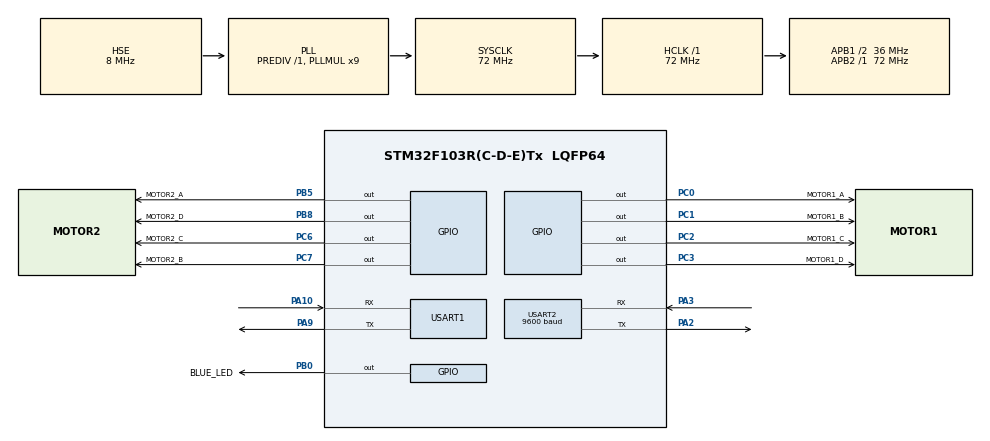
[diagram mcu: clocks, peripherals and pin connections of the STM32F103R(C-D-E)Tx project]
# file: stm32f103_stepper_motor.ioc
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Mcu.Family=STM32F1
Mcu.Name=STM32F103R(C-D-E)Tx
Mcu.Package=LQFP64
NVIC.PriorityGroup=NVIC_PRIORITYGROUP_4
NVIC.USART1_IRQn=true\:0\:0\:false\:false\:true\:true\:true\:true
NVIC.USART2_IRQn=true\:0\:0\:false\:false\:true\:true\:true\:true
PA10.Mode=Asynchronous
PA10.Signal=USART1_RX
PA13.Mode=Serial_Wire
PA13.Signal=SYS_JTMS-SWDIO
PA14.Mode=Serial_Wire
PA14.Signal=SYS_JTCK-SWCLK
PA2.Mode=Asynchronous
PA2.Signal=USART2_TX
PA3.Mode=Asynchronous
PA3.Signal=USART2_RX
PA9.Mode=Asynchronous
PA9.Signal=USART1_TX
PB0.GPIO_Label=BLUE_LED
PB0.GPIO_Speed=GPIO_SPEED_FREQ_HIGH
PB0.PinState=GPIO_PIN_SET
PB0.Signal=GPIO_Output
PB5.GPIO_Label=MOTOR2_A
PB5.GPIO_ModeDefaultOutputPP=GPIO_MODE_OUTPUT_PP
PB5.GPIO_PuPd=GPIO_NOPULL
PB5.GPIO_Speed=GPIO_SPEED_FREQ_HIGH
PB5.PinState=GPIO_PIN_RESET
PB5.Signal=GPIO_Output
PB8.GPIO_Label=MOTOR2_D
PB8.GPIO_ModeDefaultOutputPP=GPIO_MODE_OUTPUT_PP
PB8.GPIO_PuPd=GPIO_NOPULL
PB8.GPIO_Speed=GPIO_SPEED_FREQ_HIGH
PB8.PinState=GPIO_PIN_RESET
PB8.Signal=GPIO_Output
PC0.GPIO_Label=MOTOR1_A
PC0.GPIO_Speed=GPIO_SPEED_FREQ_HIGH
PC0.Signal=GPIO_Output
PC1.GPIO_Label=MOTOR1_B
PC1.GPIO_Speed=GPIO_SPEED_FREQ_HIGH
PC1.Signal=GPIO_Output
PC14-OSC32_IN.Mode=LSE-External-Oscillator
PC14-OSC32_IN.Signal=RCC_OSC32_IN
PC15-OSC32_OUT.Mode=LSE-External-Oscillator
PC15-OSC32_OUT.Signal=RCC_OSC32_OUT
PC2.GPIO_Label=MOTOR1_C
PC2.GPIO_Speed=GPIO_SPEED_FREQ_HIGH
PC2.Signal=GPIO_Output
PC3.GPIO_Label=MOTOR1_D
PC3.GPIO_Speed=GPIO_SPEED_FREQ_HIGH
PC3.Signal=GPIO_Output
PC6.GPIO_Label=MOTOR2_C
PC6.GPIO_ModeDefaultOutputPP=GPIO_MODE_OUTPUT_PP
PC6.GPIO_PuPd=GPIO_NOPULL
PC6.GPIO_Speed=GPIO_SPEED_FREQ_HIGH
PC6.PinState=GPIO_PIN_RESET
PC6.Signal=GPIO_Output
PC7.GPIO_Label=MOTOR2_B
PC7.GPIO_ModeDefaultOutputPP=GPIO_MODE_OUTPUT_PP
PC7.GPIO_PuPd=GPIO_NOPULL
PC7.GPIO_Speed=GPIO_SPEED_FREQ_HIGH
PC7.PinState=GPIO_PIN_RESET
PC7.Signal=GPIO_Output
PD0-OSC_IN.Mode=HSE-External-Oscillator
PD0-OSC_IN.Signal=RCC_OSC_IN
PD1-OSC_OUT.Mode=HSE-External-Oscillator
PD1-OSC_OUT.Signal=RCC_OSC_OUT
ProjectManager.HeapSize=0x200
ProjectManager.StackSize=0x400
ProjectManager.TargetToolchain=MDK-ARM V5.32
RCC.AHBFreq_Value=72000000
RCC.APB1CLKDivider=RCC_HCLK_DIV2
RCC.APB1Freq_Value=36000000
RCC.APB1TimFreq_Value=72000000
RCC.APB2Freq_Value=72000000
RCC.APB2TimFreq_Value=72000000
RCC.HCLKFreq_Value=72000000
RCC.PLLMUL=RCC_PLL_MUL9
RCC.PLLSourceVirtual=RCC_PLLSOURCE_HSE
RCC.SYSCLKFreq_VALUE=72000000
RCC.SYSCLKSource=RCC_SYSCLKSOURCE_PLLCLK
RCC.USBFreq_Value=72000000
USART1.VirtualMode=VM_ASYNC
USART2.BaudRate=9600
USART2.VirtualMode=VM_ASYNC
board=custom

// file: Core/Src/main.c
/* USER CODE BEGIN Header */
/**
  ******************************************************************************
  * @file           : main.c
  * @brief          : Main program body
  ******************************************************************************
  * @attention
  *
  * Copyright (c) 2023 STMicroelectronics.
  * All rights reserved.
  *
  * This software is licensed under terms that can be found in the LICENSE file
  * in the root directory of this software component.
  * If no LICENSE file comes with this software, it is provided AS-IS.
  *
  ******************************************************************************
  */
/* USER CODE END Header */
#include "main.h"
#include "usart.h"
#include "gpio.h"

/* USER CODE BEGIN Includes */
#include "bsp_uart.h"
#include "bsp_soft_timer.h"
#include "elog.h"
#include "bsp_stepper_motor.h"

/* USER CODE END Includes */

/* USER CODE BEGIN PD */

#define LOG_TAG    "main"

/* USER CODE END PD */

void SystemClock_Config(void);
/* USER CODE BEGIN PFP */
static void test_elog(void);

/* USER CODE END PFP */

/* USER CODE BEGIN 0 */
void test_elog(void)
{
    /* test log output for all level */
    log_a("log_a: Hello EasyLogger!");
    log_e("log_e: Hello EasyLogger!");
    log_w("log_w: Hello EasyLogger!");
    log_i("log_i: Hello EasyLogger!");
    log_d("log_d: Hello EasyLogger!");
    log_v("log_v: Hello EasyLogger!");
    elog_raw("elog_raw: Hello EasyLogger!\r\n");
}

/*
* 函数名称：Easylogger_Init
* 输入参数：None
* �? �? 值：None
* �?    者：Barry
* 功能描述：初始化Easylogger打印，配置log输出的颜色�?�字体�?�输出内容等
* 修改记录：None
*/
void Easylogger_Init(void)
{
  /* 初始化Easylogger */
  elog_init();

  /* 使能颜色输出 */
  elog_set_text_color_enabled(true);

  /* 输出�?有内�? */
  elog_set_fmt(ELOG_LVL_ASSERT, ELOG_FMT_ALL);

  /* 输出日志级别信息和日志TAG */
  elog_set_fmt(ELOG_LVL_ERROR, ELOG_FMT_LVL | ELOG_FMT_TAG);
  elog_set_fmt(ELOG_LVL_WARN, ELOG_FMT_LVL | ELOG_FMT_TAG);
  elog_set_fmt(ELOG_LVL_INFO, ELOG_FMT_LVL | ELOG_FMT_TAG);

  /* 除了时间、进程信息�?�线程信息之外，其余全部输出 */
  elog_set_fmt(ELOG_LVL_DEBUG, ELOG_FMT_ALL & ~(ELOG_FMT_TIME | ELOG_FMT_P_INFO | ELOG_FMT_T_INFO));

  /* 输出�?有内�? */
  elog_set_fmt(ELOG_LVL_VERBOSE, ELOG_FMT_ALL);

  /* 启动Easylogger */
  elog_start();
}

/* USER CODE END 0 */

int main(void)
{

  /* MCU Configuration--------------------------------------------------------*/

  /* Reset of all peripherals, Initializes the Flash interface and the Systick. */
  HAL_Init();

  /* Configure the system clock */
  SystemClock_Config();

  /* Initialize all configured peripherals */
  MX_GPIO_Init();
  MX_USART1_UART_Init();
  MX_USART2_UART_Init();
  /* USER CODE BEGIN 2 */
  BSP_SoftTimer_Init();
  BSP_UART_Init();
  Easylogger_Init();

  BSP_SteeperMotor_Init();

  BSP_SteeperMotor_Start(&StepperMotor1, 2
    , kMotorDirCw, kMotorModeStep, 4096);

  BSP_SteeperMotor_Start(&StepperMotor2, 2
    , kMotorDirAcw, kMotorModeLoop, 4096);

  /* USER CODE END 2 */

  /* Infinite loop */
  /* USER CODE BEGIN WHILE */
  while (1)
  {
    // for (uint8_t i = kBeatDa; i >= kBeatA; i--)
    // for (int8_t i = kBeatDa; i >= kBeatA; i--)
    // for (int8_t i = 0; i <= 7; i++)
    // {

    //   BSP_MotorBeat(&StepperMotor1, (uint8_t)i);
    //   HAL_Delay(10);
      // BSP_MotorBeat(&StepperMotor1, kBeatAb);
      // HAL_Delay(10);
      // BSP_MotorBeat(&StepperMotor1, kBeatB);
      // HAL_Delay(10);
      // BSP_MotorBeat(&StepperMotor1, kBeatBc);
      // HAL_Delay(10);
      // BSP_MotorBeat(&StepperMotor1, kBeatC);
      // HAL_Delay(10);
      // BSP_MotorBeat(&StepperMotor1, kBeatCd);
      // HAL_Delay(10);
      // BSP_MotorBeat(&StepperMotor1, kBeatD);
      // HAL_Delay(10);
      // BSP_MotorBeat(&StepperMotor1, kBeatDa);
      // HAL_Delay(10);

    // }
    // StepperMotorAction(&StepperMotor1);
    // BSP_SteeperMotor_Loop();
    // HAL_Delay(1);
    BSP_SoftTimer_Loop();
    // StepperMotorAction(&StepperMotor1);
    // HAL_Delay(1);

    // test_elog();
    // printf("123\r\n");
    /* USER CODE END WHILE */

  }
}

void SystemClock_Config(void)
{
  RCC_OscInitTypeDef RCC_OscInitStruct = {0};
  RCC_ClkInitTypeDef RCC_ClkInitStruct = {0};

  /** Initializes the RCC Oscillators according to the specified parameters
  * in the RCC_OscInitTypeDef structure.
  */
  RCC_OscInitStruct.OscillatorType = RCC_OSCILLATORTYPE_HSE;
  RCC_OscInitStruct.HSEState = RCC_HSE_ON;
  RCC_OscInitStruct.HSEPredivValue = RCC_HSE_PREDIV_DIV1;
  RCC_OscInitStruct.HSIState = RCC_HSI_ON;
  RCC_OscInitStruct.PLL.PLLState = RCC_PLL_ON;
  RCC_OscInitStruct.PLL.PLLSource = RCC_PLLSOURCE_HSE;
  RCC_OscInitStruct.PLL.PLLMUL = RCC_PLL_MUL9;
  if (HAL_RCC_OscConfig(&RCC_OscInitStruct) != HAL_OK)
  {
    Error_Handler();
  }

  /** Initializes the CPU, AHB and APB buses clocks
  */
  RCC_ClkInitStruct.ClockType = RCC_CLOCKTYPE_HCLK|RCC_CLOCKTYPE_SYSCLK
                              |RCC_CLOCKTYPE_PCLK1|RCC_CLOCKTYPE_PCLK2;
  RCC_ClkInitStruct.SYSCLKSource = RCC_SYSCLKSOURCE_PLLCLK;
  RCC_ClkInitStruct.AHBCLKDivider = RCC_SYSCLK_DIV1;
  RCC_ClkInitStruct.APB1CLKDivider = RCC_HCLK_DIV2;
  RCC_ClkInitStruct.APB2CLKDivider = RCC_HCLK_DIV1;

  if (HAL_RCC_ClockConfig(&RCC_ClkInitStruct, FLASH_LATENCY_2) != HAL_OK)
  {
    Error_Handler();
  }
}

void Error_Handler(void)
{
  __disable_irq();
  while (1)
  {
  }
}
